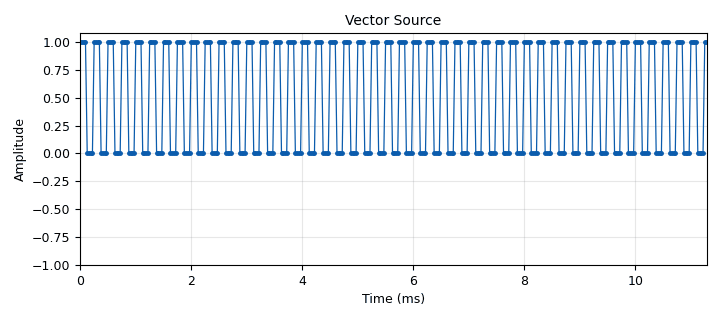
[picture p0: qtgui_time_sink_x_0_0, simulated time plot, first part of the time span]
<?xml version='1.0' encoding='utf-8'?>
<?grc format='1' created='3.7.11'?>
<flow_graph>
<block>
<key>options</key>
<param><key>id</key><value>top_block</value></param>
<param><key>generate_options</key><value>qt_gui</value></param>
</block>
<block>
<key>variable</key>
<param><key>id</key><value>samp_rate</value></param>
<param><key>value</key><value>32000</value></param>
</block>
<block>
<key>blocks_file_sink</key>
<param><key>id</key><value>blocks_file_sink_0</value></param>
<param><key>file</key><value>/home/diane/repos/sdrgnuradio/vector_source/dbpsk/ones_zeros/simulation/demodoutput.bin</value></param>
<param><key>type</key><value>byte</value></param>
</block>
<block>
<key>blocks_file_sink</key>
<param><key>id</key><value>blocks_file_sink_0_0</value></param>
<param><key>file</key><value>/home/diane/repos/sdrgnuradio/vector_source/dbpsk/ones_zeros/simulation/packedinput.bin</value></param>
<param><key>type</key><value>byte</value></param>
</block>
<block>
<key>blocks_keep_one_in_n</key>
<param><key>id</key><value>blocks_keep_one_in_n_0</value></param>
<param><key>_enabled</key><value>0</value></param>
<param><key>n</key><value>2</value></param>
<param><key>type</key><value>complex</value></param>
</block>
<block>
<key>blocks_throttle</key>
<param><key>id</key><value>blocks_throttle_0</value></param>
<param><key>samples_per_second</key><value>samp_rate</value></param>
<param><key>type</key><value>byte</value></param>
</block>
<block>
<key>blocks_uchar_to_float</key>
<param><key>id</key><value>blocks_uchar_to_float_0</value></param>
</block>
<block>
<key>blocks_uchar_to_float</key>
<param><key>id</key><value>blocks_uchar_to_float_1</value></param>
<param><key>_enabled</key><value>0</value></param>
</block>
<block>
<key>blocks_unpacked_to_packed_xx</key>
<param><key>id</key><value>blocks_unpacked_to_packed_xx_0</value></param>
<param><key>bits_per_chunk</key><value>1</value></param>
<param><key>endianness</key><value>gr.GR_MSB_FIRST</value></param>
<param><key>type</key><value>byte</value></param>
</block>
<block>
<key>blocks_unpacked_to_packed_xx</key>
<param><key>id</key><value>blocks_unpacked_to_packed_xx_1</value></param>
<param><key>bits_per_chunk</key><value>1</value></param>
<param><key>endianness</key><value>gr.GR_MSB_FIRST</value></param>
<param><key>type</key><value>byte</value></param>
</block>
<block>
<key>blocks_vector_source_x</key>
<param><key>id</key><value>blocks_vector_source_x_0</value></param>
<param><key>type</key><value>byte</value></param>
<param><key>repeat</key><value>True</value></param>
<param><key>vector</key><value>(1,1,1,1,0,0,0,0)</value></param>
</block>
<block>
<key>digital_dxpsk_demod</key>
<param><key>id</key><value>digital_dxpsk_demod_0</value></param>
<param><key>excess_bw</key><value>0.35</value></param>
<param><key>freq_bw</key><value>6.28/100.0</value></param>
<param><key>mod_code</key><value>"gray"</value></param>
<param><key>log</key><value>False</value></param>
<param><key>phase_bw</key><value>6.28/100.0</value></param>
<param><key>samples_per_symbol</key><value>2</value></param>
<param><key>sync_out</key><value>False</value></param>
<param><key>timing_bw</key><value>6.28/100.0</value></param>
<param><key>type</key><value>dbpsk</value></param>
<param><key>verbose</key><value>False</value></param>
</block>
<block>
<key>digital_dxpsk_mod</key>
<param><key>id</key><value>digital_dxpsk_mod_0</value></param>
<param><key>excess_bw</key><value>0.35</value></param>
<param><key>mod_code</key><value>"gray"</value></param>
<param><key>log</key><value>False</value></param>
<param><key>samples_per_symbol</key><value>2</value></param>
<param><key>type</key><value>dbpsk</value></param>
<param><key>verbose</key><value>False</value></param>
</block>
<block>
<key>note</key>
<param><key>id</key><value>note_0</value></param>
<param><key>comment</key><value>The vector source 1's and 0's are interpreted as a 
list of integers, then truncated to bytes when 
output.

These vector source output bytes are unpacked. 
If the input was a list of ASCII characters, those
output bytes would be packed bytes.

"1" is 0x31 0011 0001
1 is just 1

The DPSK modulator requires packed byte input.</value></param>
<param><key>note</key><value>Why unpacked to packed?</value></param>
</block>
<block>
<key>note</key>
<param><key>id</key><value>note_1</value></param>
<param><key>note</key><value>1's and 0's are easy to observe</value></param>
</block>
<block>
<key>note</key>
<param><key>id</key><value>output_file_note</value></param>
<param><key>comment</key><value>The input file pattern is f0     1111 0000

The output file pattern is c3  1100 0011

It appears as though the ouput is a shifted
version of the input.</value></param>
<param><key>note</key><value>Ouput File will not match input file</value></param>
</block>
<block>
<key>qtgui_const_sink_x</key>
<param><key>id</key><value>qtgui_const_sink_x_0</value></param>
<param><key>_enabled</key><value>0</value></param>
<param><key>size</key><value>1024</value></param>
<param><key>type</key><value>complex</value></param>
</block>
<block>
<key>qtgui_sink_x</key>
<param><key>id</key><value>qtgui_sink_x_0</value></param>
<param><key>bw</key><value>samp_rate</value></param>
<param><key>fc</key><value>0</value></param>
<param><key>freqchangevar</key><value>None</value></param>
<param><key>_enabled</key><value>0</value></param>
<param><key>fftsize</key><value>1024</value></param>
<param><key>name</key><value>"Modulated"</value></param>
<param><key>showports</key><value>True</value></param>
<param><key>type</key><value>complex</value></param>
<param><key>wintype</key><value>firdes.WIN_BLACKMAN_hARRIS</value></param>
</block>
<block>
<key>qtgui_time_sink_x</key>
<param><key>id</key><value>qtgui_time_sink_x_0_0</value></param>
<param><key>ctrlpanel</key><value>True</value></param>
<param><key>color1</key><value>"blue"</value></param>
<param><key>label1</key><value></value></param>
<param><key>marker1</key><value>0</value></param>
<param><key>name</key><value>"Vector Source"</value></param>
<param><key>size</key><value>1024</value></param>
<param><key>srate</key><value>samp_rate</value></param>
<param><key>type</key><value>float</value></param>
</block>
<block>
<key>qtgui_time_sink_x</key>
<param><key>id</key><value>qtgui_time_sink_x_0_0_0</value></param>
<param><key>ctrlpanel</key><value>True</value></param>
<param><key>_enabled</key><value>0</value></param>
<param><key>color1</key><value>"blue"</value></param>
<param><key>label1</key><value></value></param>
<param><key>marker1</key><value>0</value></param>
<param><key>name</key><value>"Demodulated"</value></param>
<param><key>size</key><value>1024</value></param>
<param><key>srate</key><value>samp_rate</value></param>
<param><key>type</key><value>float</value></param>
</block>
<connection><source_block_id>blocks_keep_one_in_n_0</source_block_id><sink_block_id>qtgui_const_sink_x_0</sink_block_id><source_key>0</source_key><sink_key>0</sink_key></connection>
<connection><source_block_id>blocks_throttle_0</source_block_id><sink_block_id>blocks_uchar_to_float_0</sink_block_id><source_key>0</source_key><sink_key>0</sink_key></connection>
<connection><source_block_id>blocks_throttle_0</source_block_id><sink_block_id>blocks_unpacked_to_packed_xx_0</sink_block_id><source_key>0</source_key><sink_key>0</sink_key></connection>
<connection><source_block_id>blocks_uchar_to_float_0</source_block_id><sink_block_id>qtgui_time_sink_x_0_0</sink_block_id><source_key>0</source_key><sink_key>0</sink_key></connection>
<connection><source_block_id>blocks_uchar_to_float_1</source_block_id><sink_block_id>qtgui_time_sink_x_0_0_0</sink_block_id><source_key>0</source_key><sink_key>0</sink_key></connection>
<connection><source_block_id>blocks_unpacked_to_packed_xx_0</source_block_id><sink_block_id>blocks_file_sink_0_0</sink_block_id><source_key>0</source_key><sink_key>0</sink_key></connection>
<connection><source_block_id>blocks_unpacked_to_packed_xx_0</source_block_id><sink_block_id>digital_dxpsk_mod_0</sink_block_id><source_key>0</source_key><sink_key>0</sink_key></connection>
<connection><source_block_id>blocks_unpacked_to_packed_xx_1</source_block_id><sink_block_id>blocks_file_sink_0</sink_block_id><source_key>0</source_key><sink_key>0</sink_key></connection>
<connection><source_block_id>blocks_vector_source_x_0</source_block_id><sink_block_id>blocks_throttle_0</sink_block_id><source_key>0</source_key><sink_key>0</sink_key></connection>
<connection><source_block_id>digital_dxpsk_demod_0</source_block_id><sink_block_id>blocks_uchar_to_float_1</sink_block_id><source_key>0</source_key><sink_key>0</sink_key></connection>
<connection><source_block_id>digital_dxpsk_demod_0</source_block_id><sink_block_id>blocks_unpacked_to_packed_xx_1</sink_block_id><source_key>0</source_key><sink_key>0</sink_key></connection>
<connection><source_block_id>digital_dxpsk_mod_0</source_block_id><sink_block_id>blocks_keep_one_in_n_0</sink_block_id><source_key>0</source_key><sink_key>0</sink_key></connection>
<connection><source_block_id>digital_dxpsk_mod_0</source_block_id><sink_block_id>digital_dxpsk_demod_0</sink_block_id><source_key>0</source_key><sink_key>0</sink_key></connection>
<connection><source_block_id>digital_dxpsk_mod_0</source_block_id><sink_block_id>qtgui_sink_x_0</sink_block_id><source_key>0</source_key><sink_key>0</sink_key></connection>
</flow_graph>
